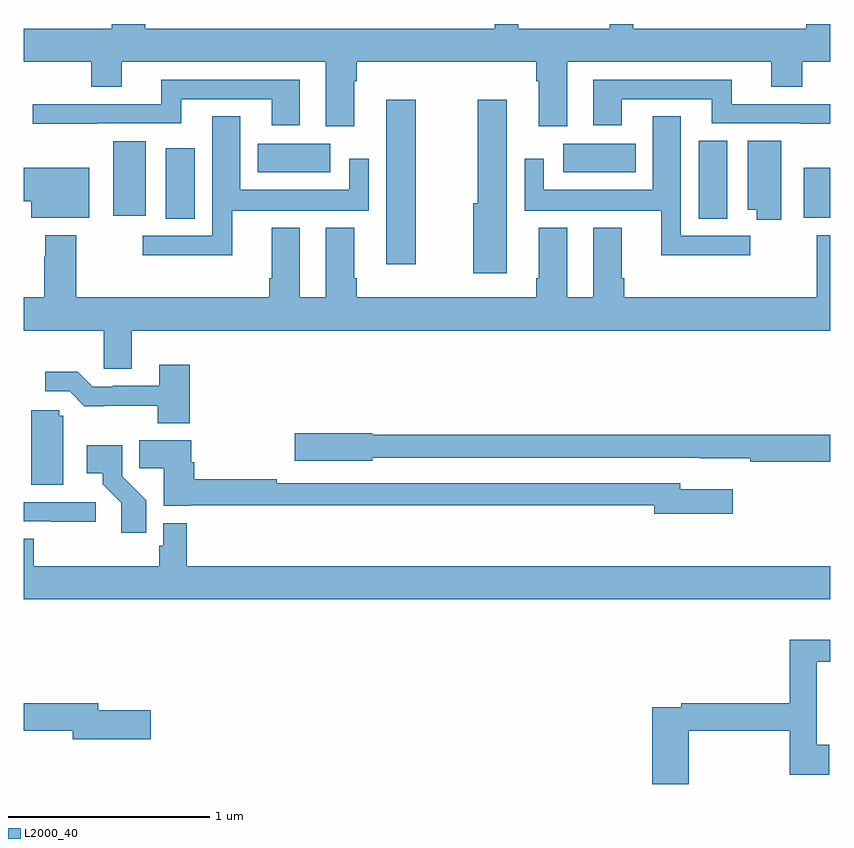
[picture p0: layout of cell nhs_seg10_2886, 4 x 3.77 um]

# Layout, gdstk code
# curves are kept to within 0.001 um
import gdstk
lib = gdstk.Library(unit=1e-6, precision=1e-09)
def R(c, l, rs):  # rectangles x0, y0, x1, y1
    for r in rs: c.add(gdstk.rectangle(r[:2], r[2:], *l))
def P(c, l, *ps):  # polygons
    for p in ps: c.add(gdstk.Polygon(p, *l))
L2000_40 = (2000, 40)

nhs_seg10_2886 = lib.new_cell('nhs_seg10_2886')
R(nhs_seg10_2886, L2000_40, [(268.799,1303.308,268.944,1304.125), (267.704,1303.534,267.847,1303.885), (270.347,1303.534,270.49,1303.922), (270.869,1303.538,271,1303.786), (267.443,1303.548,267.604,1303.918), (268.16,1303.766,268.519,1303.906), (269.676,1303.766,270.034,1303.906)])
P(nhs_seg10_2886, L2000_40, [(269.543,1304.216),(269.555,1304.216),(269.555,1303.992),(269.695,1303.992),(269.695,1304.312),(270.707,1304.312),(270.707,1304.188),(270.86,1304.188),(270.86,1304.312),(271,1304.312),(271,1304.5),(270.881,1304.5),(270.881,1304.476),(270.023,1304.476),(270.023,1304.5),(269.906,1304.5),(269.906,1304.476),(269.453,1304.476),(269.453,1304.5),(269.335,1304.5),(269.335,1304.476),(267.602,1304.476),(267.602,1304.5),(267.437,1304.5),(267.437,1304.476),(267,1304.476),(267,1304.312),(267.335,1304.312),(267.335,1304.188),(267.487,1304.188),(267.487,1304.312),(268.499,1304.312),(268.499,1303.992),(268.639,1303.992),(268.639,1304.216),(268.652,1304.216),(268.652,1304.312),(269.543,1304.312)],
  [(269.965,1304.127),(270.413,1304.127),(270.413,1304.007),(270.853,1304.007),(270.853,1304.005),(271,1304.005),(271,1304.103),(270.512,1304.103),(270.512,1304.223),(269.825,1304.223),(269.825,1303.998),(269.965,1303.998)],
  [(268.369,1304.223),(267.683,1304.223),(267.683,1304.103),(267.045,1304.103),(267.045,1304.005),(267.365,1304.005),(267.365,1304.007),(267.781,1304.007),(267.781,1304.127),(268.229,1304.127),(268.229,1303.998),(268.369,1303.998)],
  [(269.395,1304.125),(269.251,1304.125),(269.251,1303.611),(269.23,1303.611),(269.23,1303.263),(269.395,1303.263)],
  [(270.604,1303.449),(270.259,1303.449),(270.259,1304.042),(270.119,1304.042),(270.119,1303.678),(269.58,1303.678),(269.58,1303.831),(269.484,1303.831),(269.484,1303.574),(270.161,1303.574),(270.161,1303.352),(270.604,1303.352)],
  [(268.034,1303.574),(268.71,1303.574),(268.71,1303.831),(268.614,1303.831),(268.614,1303.678),(268.075,1303.678),(268.075,1304.042),(267.935,1304.042),(267.935,1303.449),(267.591,1303.449),(267.591,1303.352),(268.034,1303.352)],
  [(270.757,1303.922),(270.59,1303.922),(270.59,1303.58),(270.635,1303.58),(270.635,1303.53),(270.757,1303.53)],
  [(267.325,1303.786),(267,1303.786),(267,1303.621),(267.038,1303.621),(267.038,1303.538),(267.325,1303.538)],
  [(267.535,1302.98),(271,1302.98),(271,1303.453),(270.934,1303.453),(270.934,1303.144),(269.978,1303.144),(269.978,1303.24),(269.965,1303.24),(269.965,1303.489),(269.825,1303.489),(269.825,1303.144),(269.695,1303.144),(269.695,1303.489),(269.555,1303.489),(269.555,1303.24),(269.543,1303.24),(269.543,1303.144),(268.652,1303.144),(268.652,1303.24),(268.639,1303.24),(268.639,1303.489),(268.499,1303.489),(268.499,1303.144),(268.369,1303.144),(268.369,1303.489),(268.229,1303.489),(268.229,1303.24),(268.217,1303.24),(268.217,1303.144),(267.261,1303.144),(267.261,1303.453),(267.106,1303.453),(267.106,1303.346),(267.101,1303.346),(267.101,1303.144),(267,1303.144),(267,1302.98),(267.396,1302.98),(267.396,1302.79),(267.535,1302.79)],
  [(267.824,1302.811),(267.671,1302.811),(267.671,1302.705),(267.442,1302.705),(267.442,1302.702),(267.342,1302.702),(267.269,1302.775),(267.108,1302.775),(267.108,1302.678),(267.228,1302.678),(267.301,1302.605),(267.664,1302.606),(267.664,1302.521),(267.824,1302.521)],
  [(267.196,1302.558),(267.177,1302.558),(267.177,1302.585),(267.038,1302.585),(267.038,1302.214),(267.196,1302.214)],
  [(271,1302.464),(268.728,1302.464),(268.728,1302.47),(268.344,1302.47),(268.344,1302.335),(268.728,1302.335),(268.728,1302.348),(270.352,1302.348),(270.352,1302.347),(270.604,1302.347),(270.604,1302.328),(271,1302.328)],
  [(270.517,1302.193),(270.256,1302.193),(270.256,1302.222),(268.256,1302.222),(268.256,1302.242),(267.845,1302.242),(267.845,1302.326),(267.832,1302.326),(267.832,1302.436),(267.574,1302.436),(267.574,1302.298),(267.695,1302.298),(267.695,1302.11),(267.828,1302.11),(267.828,1302.114),(270.128,1302.114),(270.128,1302.071),(270.517,1302.071)],
  [(267.608,1302.138),(267.489,1302.257),(267.489,1302.412),(267.312,1302.412),(267.312,1302.272),(267.392,1302.272),(267.392,1302.217),(267.483,1302.127),(267.483,1301.976),(267.608,1301.976)],
  [(267.358,1302.129),(267,1302.129),(267,1302.033),(267.133,1302.033),(267.133,1302.031),(267.358,1302.031)],
  [(271,1301.812),(267.809,1301.812),(267.809,1302.025),(267.693,1302.025),(267.693,1301.913),(267.673,1301.913),(267.673,1301.812),(267.05,1301.812),(267.05,1301.948),(267,1301.948),(267,1301.648),(271,1301.648)],
  [(270.299,1300.996),(270.8,1300.996),(270.8,1300.778),(270.994,1300.778),(270.994,1300.926),(270.934,1300.926),(270.934,1301.337),(271,1301.337),(271,1301.447),(270.8,1301.447),(270.8,1301.132),(270.262,1301.132),(270.262,1301.112),(270.116,1301.112),(270.116,1300.731),(270.299,1300.731)],
  [(267.631,1301.096),(267.37,1301.096),(267.37,1301.132),(267,1301.132),(267,1300.996),(267.242,1300.996),(267.242,1300.954),(267.631,1300.954)])

lib.write_gds('nhs_seg10_2886.gds')
